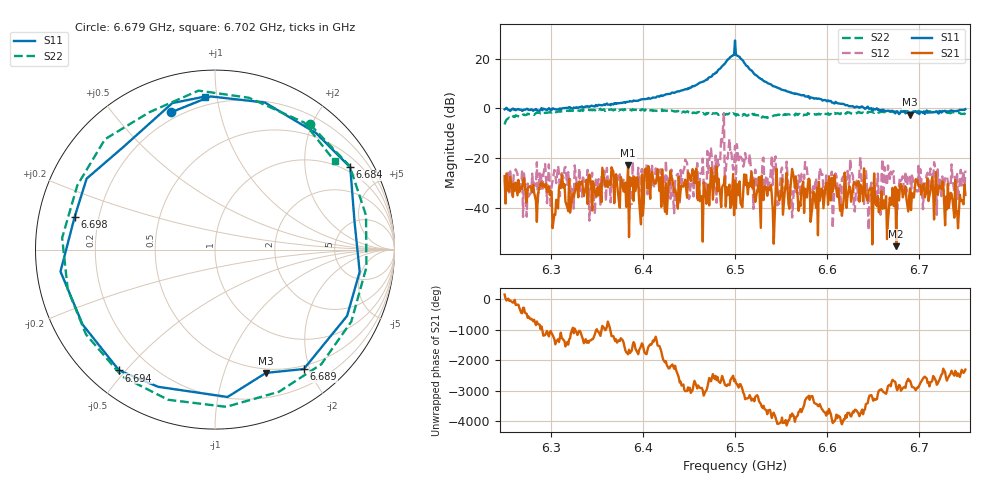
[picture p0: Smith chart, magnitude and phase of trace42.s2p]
# Hz S RI R 50
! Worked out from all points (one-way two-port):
!   401 points, 6.25 GHz to 6.75 GHz, reference 50 ohm
!   highest |S21| = -22.81 dB at 6.384 GHz (marker M1); lowest = -55.5 dB at 6.675 GHz (marker M2)
!   lowest |S11| = -2.6 dB at 6.69 GHz (marker M3), VSWR 6.79, Z = 22.7 - j69.8 ohm
!   |S11| at or under -10 dB: nowhere
!   |S22| runs from -6.5 to -0.1 dB; largest |S21 - S12| = 0.78
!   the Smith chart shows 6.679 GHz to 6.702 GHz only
!   S11 on the Smith chart (normalised r, x): 6.679 GHz: 0.17, +0.72; 6.684 GHz: 0.82, +3.39; 6.689 GHz: 0.45, -1.91; 6.694 GHz: 0.09, -0.48; 6.698 GHz: 0.11, +0.11; 6.702 GHz: 0.15, +0.93
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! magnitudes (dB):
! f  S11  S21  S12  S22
! 6.25 GHz  -0.4  -27.3  -28.4  -6.5
! 6.305 GHz  -0.3  -42.9  -26.4  -1.5
! 6.311 GHz  -0.5  -32.2  -27.9  -1.0
! 6.334 GHz  0.8  -29.3  -35.6  -0.5
! 6.384 GHz  2.7  -22.8  -31.2  -0.5
! 6.418 GHz  4.7  -33.3  -25.8  -1.0
! 6.452 GHz  8.3  -29.3  -29.9  -1.3
! 6.485 GHz  16.5  -39.8  -11.4  -2.0
! 6.5 GHz  27.3  -29.2  -15.2  -2.3
! 6.584 GHz  4.2  -39.4  -33.3  -2.3
! 6.625 GHz  0.8  -32.0  -20.4  -1.9
! 6.648 GHz  0.1  -31.9  -30.0  -1.3
! 6.668 GHz  -1.1  -36.0  -28.5  -1.4
! 6.675 GHz  -1.4  -55.5  -34.1  -1.3
! 6.679 GHz  -1.9  -31.1  -27.9  -1.2
! 6.684 GHz  -1.1  -33.2  -34.7  -1.3
! 6.689 GHz  -1.6  -35.5  -27.4  -1.1
! 6.69 GHz  -2.6  -32.2  -26.7  -1.2
! 6.694 GHz  -1.3  -36.0  -30.2  -1.4
! 6.698 GHz  -1.9  -28.8  -33.5  -1.4
! 6.702 GHz  -1.4  -34.8  -28.0  -1.6
! 6.75 GHz  -0.3  -34.9  -25.1  -2.5
